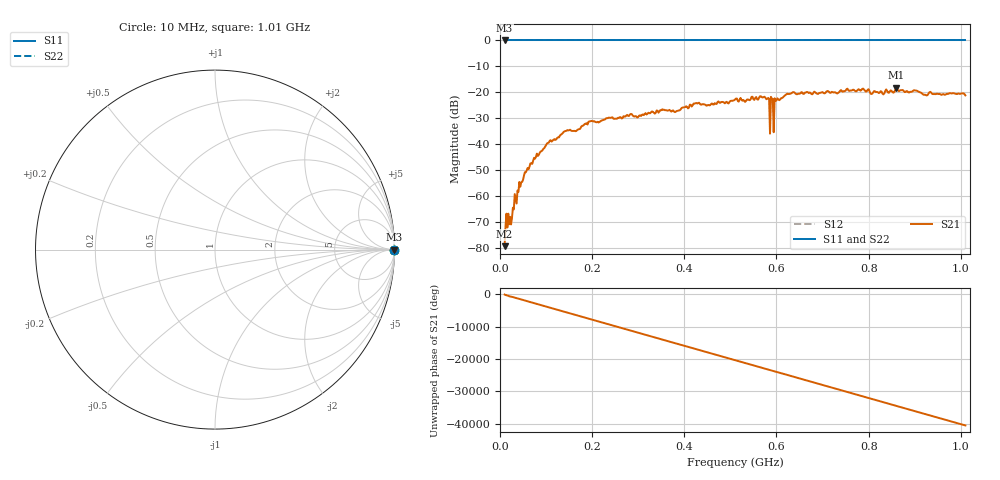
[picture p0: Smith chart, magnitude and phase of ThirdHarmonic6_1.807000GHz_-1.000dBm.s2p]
! 8/16/2025 9:53:10 PM
! C:\ANRITSUVNA\TEMP\TEMP.S2P
! CHANNEL.1
! TR.MEASUREMENT
! RAW.DATA
! RF.CORRECTION.OFF
! AVERAGING.OFF
! IF.BANDWIDTH: 5KHZ
! SWEEPTYPE:  FREQ.SWEEP(Linear)
! Reference Plane Port Info
! PORT:  PORT1  PORT2
! DISTANCE:  0  m  0  m
! TIME:  0  s  0  s
! PHASE.OFFSET:  0  deg.  0  deg.
! LOSS:  0  dB  0  dB
! REF.LOSS:  0  dB  0  dB
! REF.FREQ:  0  Hz  0  Hz
! Power Info
! POWER:  -20  dBm  -20  dBm
! EFF.POWER:  -20  dBm  -20  dBm
! SOURCE.ATTEN:  0  dB  0  dB
! TEST.ATTEN:  0  dB  0  dB
# GHZ S RI R 50.0
! FREQ.GHZ  S11RE  S11IM  S21RE  S21IM  S12RE  S12IM  S22RE  S22IM
!; PortSelection: Port_12
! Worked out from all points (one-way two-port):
!   501 points, 10 MHz to 1.01 GHz, reference 50 ohm
!   highest |S21| = -18.12 dB at 860 MHz (marker M1); lowest = -79.2 dB at 10 MHz (marker M2)
!   lowest |S11| = 0.0 dB at 10 MHz (marker M3)
!   |S11| at or under -10 dB: nowhere
!   |S22| runs from 0.0 to 0.0 dB; largest |S21 - S12| = 1.1
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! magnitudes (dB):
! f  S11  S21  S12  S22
! 10 MHz  0.0  -79.2  0.0  0.0
! 16 MHz  0.0  -72.0  0.0  0.0
! 24 MHz  0.0  -70.8  0.0  0.0
! 42 MHz  0.0  -54.4  0.0  0.0
! 76 MHz  0.0  -45.5  0.0  0.0
! 106 MHz  0.0  -39.3  0.0  0.0
! 178 MHz  0.0  -32.9  0.0  0.0
! 196 MHz  0.0  -31.1  0.0  0.0
! 344 MHz  0.0  -27.8  0.0  0.0
! 510 MHz  0.0  -22.8  0.0  0.0
! 578 MHz  0.0  -22.6  0.0  0.0
! 582 MHz  0.0  -22.1  0.0  0.0
! 588 MHz  0.0  -21.7  0.0  0.0
! 590 MHz  0.0  -22.4  0.0  0.0
! 592 MHz  0.0  -22.6  0.0  0.0
! 598 MHz  0.0  -23.3  0.0  0.0
! 600 MHz  0.0  -23.1  0.0  0.0
! 622 MHz  0.0  -20.7  0.0  0.0
! 678 MHz  0.0  -20.7  0.0  0.0
! 844 MHz  0.0  -20.1  0.0  0.0
! 860 MHz  0.0  -18.1  0.0  0.0
! 1.01 GHz  0.0  -21.1  0.0  0.0
